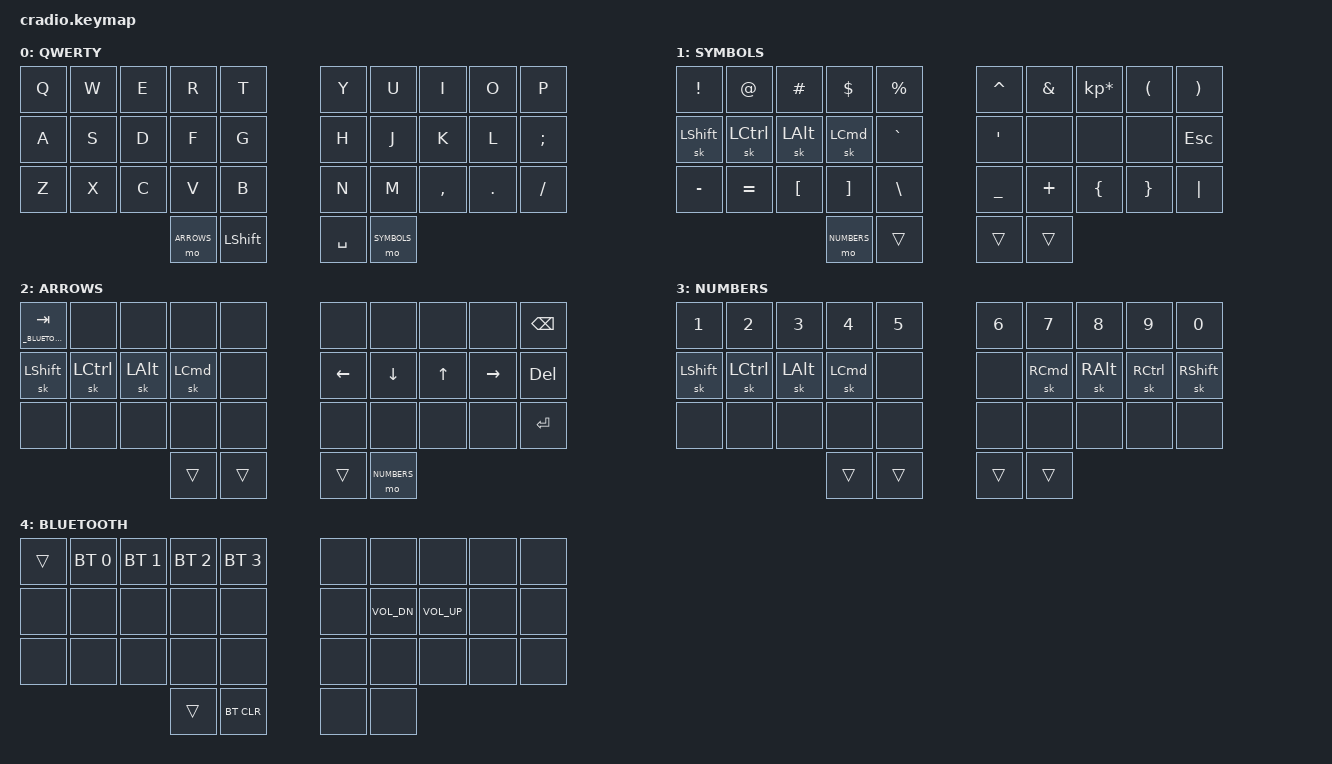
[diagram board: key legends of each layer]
/*
 * Copyright (c) 2020 The ZMK Contributors
 *
 * SPDX-License-Identifier: MIT
 */

#include <behaviors.dtsi>
#include <dt-bindings/zmk/keys.h>
#include <dt-bindings/zmk/bt.h>

#define _QWERTY         0
#define _SYMBOLS        1
#define _ARROWS         2
#define _NUMBERS        3
#define _BLUETOOTH      4

/ {
        keymap {
                compatible = "zmk,keymap";

                /*
                [_QWERTY] = LAYOUT(KC_Q, KC_W, KC_E, KC_R, KC_T, KC_Y, KC_U, KC_I, KC_O, KC_P, 
                                KC_A, KC_S, KC_D, KC_F, KC_G, KC_H, KC_J, KC_K, KC_L, KC_SCLN,
                                KC_Z, KC_X, KC_C, KC_V, KC_B, KC_N, KC_M, KC_COMM, KC_DOT, KC_SLSH,
                                MO(_ARROWS), KC_LSFT, KC_SPC, MO(_SYMBOLS)),
                */

                QWERTY {
                        bindings = <
                &kp Q &kp W &kp E       &kp R         &kp T           &kp Y     &kp U       &kp I        &kp O   &kp P    
                &kp A &kp S &kp D       &kp F         &kp G           &kp H     &kp J       &kp K        &kp L   &kp SEMI 
                &kp Z &kp X &kp C       &kp V         &kp B           &kp N     &kp M       &kp COMMA    &kp DOT &kp FSLH 
                                        &mo _ARROWS   &kp LSHFT       &kp SPACE &mo _SYMBOLS 
                        >;
                };

                SYMBOLS {
                                bindings = <
                &kp EXCL  &kp AT        &kp HASH      &kp DLLR   &kp PRCNT   &kp CARET &kp AMPS  &kp KP_MULTIPLY &kp LPAR  &kp RPAR
                &sk LSHFT &sk LCTRL     &sk LALT      &sk LCMD   &kp GRAVE   &kp SQT   &none     &none           &none     &kp ESC   
                &kp MINUS &kp EQUAL     &kp LBKT      &kp RBKT   &kp BSLH    &kp UNDER &kp PLUS  &kp LBRC        &kp RBRC  &kp PIPE 
                                        &mo _NUMBERS  &trans     &trans      &trans    
                                >;
                };

                ARROWS {
                        bindings = <
                &lt _BLUETOOTH TAB   &none      &none     &none         &none       &none    &none    &none     &none     &kp BACKSPACE
                &sk LSHFT            &sk LCTRL  &sk LALT  &sk LCMD      &none       &kp LEFT &kp DOWN &kp UP    &kp RIGHT &kp DEL 
                &none                &none      &none     &none         &none       &none    &none    &none     &none     &kp ENTER 
                                                &trans    &trans        &trans   &mo _NUMBERS  
                        >;
                };

                NUMBERS {
                        bindings = <
                &kp 1      &kp 2       &kp 3      &kp 4      &kp 5      &kp 6    &kp 7     &kp 8     &kp 9      &kp 0
                &sk LSHFT  &sk LCTRL   &sk LALT   &sk LCMD   &none      &none    &sk RCMD  &sk RALT  &sk RCTRL  &sk RSHFT
                &none      &none       &none      &none      &none      &none    &none     &none     &none      &none
                           &trans      &trans                           &trans   &trans
                        >;
                };
                
                BLUETOOTH {
                        bindings = <
                &trans    &bt BT_SEL 0    &bt BT_SEL 1    &bt BT_SEL 2    &bt BT_SEL 3       &none    &none          &none              &none     &none
                &none     &none           &none           &none           &none              &none    &kp C_VOL_DN   &kp C_VOL_UP       &none     &none
                &none     &none           &none           &none           &none              &none    &none          &none              &none     &none
                                                          &trans          &bt BT_CLR         &none    &none
                        >;
                };
        };     
};
